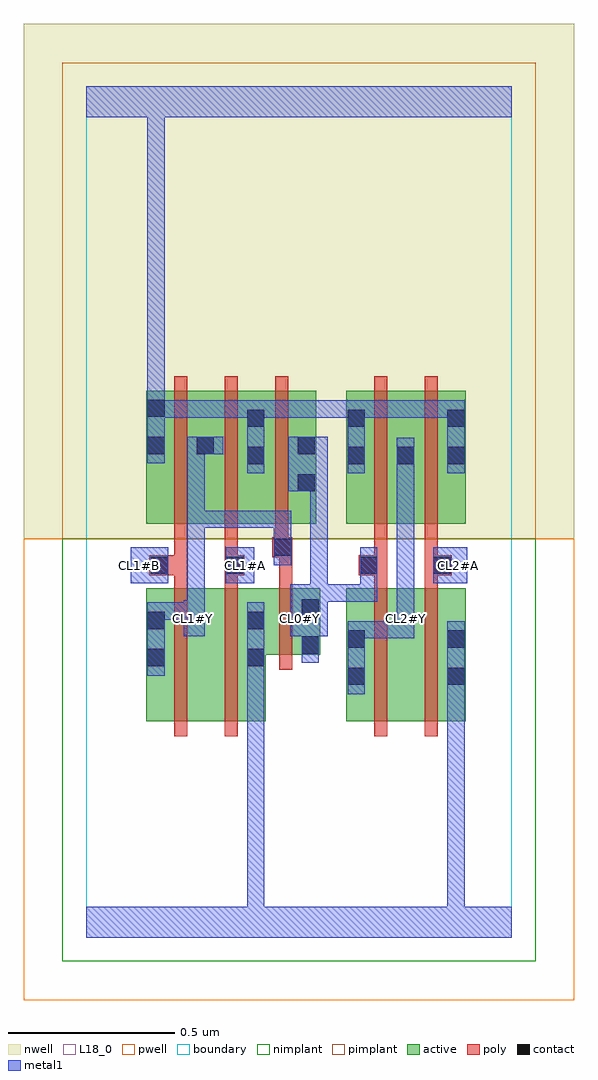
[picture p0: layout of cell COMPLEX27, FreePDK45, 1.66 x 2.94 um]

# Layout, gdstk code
import gdstk
lib = gdstk.Library(unit=1e-6, precision=1e-09)
def R(c, l, rs):  # rectangles x0, y0, x1, y1
    for r in rs: c.add(gdstk.rectangle(r[:2], r[2:], *l))
def A(c, l, x, y, w, h, nx, ny, dx, dy):  # array of equal rectangles
    R(c, l, [(x+i*dx, y+j*dy, x+i*dx+w, y+j*dy+h) for i in range(nx) for j in range(ny)])
active = (1, 0)
pwell = (2, 0)
nwell = (3, 0)
nimplant = (4, 0)
pimplant = (5, 0)
poly = (9, 0)
contact = (10, 0)
metal1 = (11, 0)
L18_0 = (18, 0)
boundary = (235, 0)

complex27 = lib.new_cell('COMPLEX27')
R(complex27, active, [(0.18,0.65,0.36,1.05), (0.36,0.65,0.54,1.05), (0.48,0.65,0.54,1.05), (0.782,0.65,0.842,1.05), (0.782,0.65,0.962,1.05), (0.962,0.65,1.142,1.05), (1.082,0.65,1.142,1.05), (0.18,0.756,0.24,1.05), (0.48,0.85,0.704,1.05), (0.644,0.85,0.704,1.05), (0.18,1.244,0.24,1.644), (0.18,1.244,0.388,1.644), (0.328,1.244,0.54,1.644), (0.48,1.244,0.692,1.644), (0.632,1.244,0.692,1.644), (0.782,1.244,0.842,1.644), (0.782,1.244,0.99,1.644), (0.93,1.244,0.99,1.644), (0.93,1.244,1.142,1.644), (1.082,1.244,1.142,1.644), (0.48,1.42,0.54,1.644), (0.328,1.45,0.388,1.644)])
R(complex27, pwell, [(-0.188,-0.188,1.468,1.2)])
R(complex27, nwell, [(-0.188,1.2,1.468,2.748)])
R(complex27, nimplant, [(-0.072,-0.072,1.352,1.2)])
R(complex27, pimplant, [(-0.072,1.2,1.352,2.632)])
A(complex27, poly, 0.264, 1.2, 0.04, 0.488, 3, 1, 0.152, 0)
R(complex27, poly, [(0.264,0.606,0.304,1.094), (0.416,0.606,0.456,1.094), (0.866,0.606,0.906,1.094), (1.018,0.606,1.058,1.094), (0.58,0.806,0.62,1.094), (0.264,1.054,0.304,1.13), (0.416,1.054,0.456,1.13), (0.58,1.054,0.62,1.184), (0.866,1.054,0.906,1.13), (1.018,1.054,1.058,1.13), (0.19,1.09,0.304,1.15), (0.264,1.09,0.304,1.13), (0.264,1.09,0.304,1.13), (0.416,1.09,0.476,1.15), (0.82,1.09,0.906,1.15), (1.018,1.09,1.1,1.15), (0.264,1.11,0.304,1.24), (0.416,1.11,0.456,1.24), (0.416,1.11,0.456,1.15), (0.416,1.11,0.456,1.15), (0.866,1.11,0.906,1.24), (0.866,1.11,0.906,1.15), (0.866,1.11,0.906,1.15), (1.018,1.11,1.058,1.24), (1.018,1.11,1.058,1.15), (1.018,1.11,1.058,1.15), (0.56,1.144,0.62,1.204), (0.58,1.144,0.62,1.184), (0.58,1.144,0.62,1.184), (0.568,1.164,0.608,1.24), (0.866,1.2,0.906,1.688), (1.018,1.2,1.058,1.688)])
R(complex27, contact, [(0.786,0.76,0.838,0.812), (1.086,0.76,1.138,0.812), (0.184,0.816,0.236,0.868), (0.484,0.816,0.536,0.868), (0.648,0.854,0.7,0.906), (0.786,0.872,0.838,0.924), (1.086,0.872,1.138,0.924), (0.184,0.928,0.236,0.98), (0.484,0.928,0.536,0.98), (0.648,0.966,0.7,1.018), (0.194,1.094,0.246,1.146), (0.42,1.094,0.472,1.146), (0.824,1.094,0.876,1.146), (1.044,1.094,1.096,1.146), (0.564,1.148,0.616,1.2), (0.636,1.342,0.688,1.394), (0.484,1.424,0.536,1.476), (0.786,1.424,0.838,1.476), (0.934,1.424,0.986,1.476), (1.086,1.424,1.138,1.476), (0.184,1.454,0.236,1.506), (0.332,1.454,0.384,1.506), (0.636,1.454,0.688,1.506), (0.484,1.536,0.536,1.588), (0.786,1.536,0.838,1.588), (1.086,1.536,1.138,1.588), (0.184,1.566,0.236,1.618)])
R(complex27, metal1, [(0,0,1.28,0.092), (0.484,0.04,0.536,0.092), (0.484,0.04,0.536,0.092), (0.484,0.04,0.536,0.092), (0.484,0.04,0.536,0.092), (0.484,0.04,0.536,0.092), (0.484,0.04,0.536,0.092), (0.484,0.04,0.536,0.092), (0.484,0.04,0.536,0.092), (0.484,0.04,0.536,0.092), (0.484,0.04,0.536,0.092), (0.484,0.04,0.536,0.092), (0.484,0.04,0.536,0.092), (0.484,0.04,0.536,0.84), (1.086,0.04,1.138,0.092), (1.086,0.04,1.138,0.092), (1.086,0.04,1.138,0.092), (1.086,0.04,1.138,0.092), (1.086,0.04,1.138,0.092), (1.086,0.04,1.138,0.092), (1.086,0.04,1.138,0.092), (1.086,0.04,1.138,0.092), (1.086,0.04,1.138,0.092), (1.086,0.04,1.138,0.092), (1.086,0.04,1.138,0.092), (1.086,0.04,1.138,0.092), (1.086,0.04,1.138,0.784), (0.786,0.732,0.838,0.952), (1.086,0.732,1.138,0.952), (0.184,0.788,0.236,1.008), (0.484,0.788,0.536,1.008), (0.648,0.826,0.7,1.046), (0.786,0.9,0.986,0.952), (0.934,0.9,0.986,0.952), (0.934,0.9,0.986,0.952), (0.934,0.9,0.986,0.952), (0.934,0.9,0.986,0.958), (0.294,0.906,0.356,1.014), (0.614,0.906,0.726,1.062), (0.648,0.906,0.7,0.958), (0.934,0.906,0.986,1.014), (0.184,0.956,0.236,1.008), (0.184,0.956,0.236,1.008), (0.184,0.956,0.236,1.008), (0.184,0.956,0.236,1.008), (0.184,0.956,0.346,1.008), (0.304,0.962,0.356,1.284), (0.934,0.962,0.986,1.014), (0.934,0.962,0.986,1.014), (0.934,0.962,0.986,1.448), (0.674,1.01,0.726,1.062), (0.674,1.01,0.726,1.062), (0.674,1.01,0.876,1.062), (0.674,1.01,0.726,1.394), (0.824,1.01,0.876,1.118), (0.134,1.066,0.246,1.174), (0.42,1.066,0.506,1.174), (0.824,1.066,0.876,1.118), (0.824,1.066,0.876,1.174), (1.044,1.066,1.146,1.174), (0.564,1.12,0.616,1.284), (0.304,1.232,0.356,1.284), (0.304,1.232,0.356,1.284), (0.304,1.232,0.356,1.284), (0.304,1.232,0.536,1.284), (0.304,1.232,0.356,1.506), (0.484,1.232,0.536,1.284), (0.484,1.232,0.616,1.284), (0.608,1.342,0.726,1.506), (0.484,1.396,0.536,1.616), (0.786,1.396,0.838,1.616), (0.934,1.396,0.986,1.504), (1.086,1.396,1.138,1.616), (0.184,1.426,0.236,1.646), (0.304,1.454,0.412,1.506), (0.184,1.564,0.236,1.616), (0.184,1.564,0.236,1.616), (0.184,1.564,0.356,1.616), (0.304,1.564,0.356,1.616), (0.304,1.564,0.356,1.616), (0.304,1.564,0.356,1.616), (0.304,1.564,0.536,1.616), (0.484,1.564,0.646,1.616), (0.594,1.564,0.646,1.616), (0.594,1.564,0.646,1.616), (0.594,1.564,0.646,1.616), (0.594,1.564,0.838,1.616), (0.786,1.564,0.838,1.616), (0.786,1.564,0.838,1.616), (0.786,1.564,1.028,1.616), (0.976,1.564,1.028,1.616), (0.976,1.564,1.138,1.616), (1.086,1.564,1.138,1.616), (1.086,1.564,1.138,1.616), (0.184,1.594,0.236,1.646), (0.184,1.594,0.236,1.646), (0.184,1.594,0.236,1.646), (0.184,1.594,0.236,1.646), (0.184,1.594,0.236,1.646), (0.184,1.594,0.236,1.646), (0.184,1.594,0.236,1.646), (0.184,1.594,0.236,1.646), (0.184,1.594,0.236,1.646), (0.184,1.594,0.236,1.646), (0.184,1.594,0.236,1.646), (0.184,1.594,0.236,1.646), (0.184,1.594,0.236,1.646), (0.184,1.594,0.236,1.646), (0.184,1.594,0.236,1.646), (0.184,1.594,0.236,1.646), (0.184,1.594,0.236,2.52), (0,2.468,1.28,2.56)])
A(complex27, L18_0, 0.294, 0.934, 0.052, 0.052, 3, 1, 0.32, 0)
R(complex27, L18_0, [(0,0,1.28,0.092), (0.484,0.04,0.536,0.092), (0.484,0.04,0.536,0.092), (0.484,0.04,0.536,0.092), (0.484,0.04,0.536,0.092), (0.484,0.04,0.536,0.092), (0.484,0.04,0.536,0.092), (0.484,0.04,0.536,0.092), (0.484,0.04,0.536,0.092), (0.484,0.04,0.536,0.092), (0.484,0.04,0.536,0.092), (0.484,0.04,0.536,0.092), (0.484,0.04,0.536,0.092), (0.484,0.04,0.536,0.84), (1.086,0.04,1.138,0.092), (1.086,0.04,1.138,0.092), (1.086,0.04,1.138,0.092), (1.086,0.04,1.138,0.092), (1.086,0.04,1.138,0.092), (1.086,0.04,1.138,0.092), (1.086,0.04,1.138,0.092), (1.086,0.04,1.138,0.092), (1.086,0.04,1.138,0.092), (1.086,0.04,1.138,0.092), (1.086,0.04,1.138,0.092), (1.086,0.04,1.138,0.092), (1.086,0.04,1.138,0.784), (0.786,0.732,0.838,0.952), (1.086,0.732,1.138,0.952), (0.184,0.788,0.236,1.008), (0.484,0.788,0.536,1.008), (0.648,0.826,0.7,1.046), (0.786,0.9,0.986,0.952), (0.934,0.9,0.986,0.952), (0.934,0.9,0.986,0.952), (0.934,0.9,0.986,0.952), (0.934,0.9,0.986,0.958), (0.294,0.906,0.356,1.014), (0.614,0.906,0.726,1.062), (0.648,0.906,0.7,0.958), (0.934,0.906,0.986,1.014), (0.184,0.956,0.236,1.008), (0.184,0.956,0.236,1.008), (0.184,0.956,0.236,1.008), (0.184,0.956,0.236,1.008), (0.184,0.956,0.346,1.008), (0.304,0.962,0.356,1.284), (0.934,0.962,0.986,1.014), (0.934,0.962,0.986,1.014), (0.934,0.962,0.986,1.448), (0.674,1.01,0.726,1.062), (0.674,1.01,0.726,1.062), (0.674,1.01,0.726,1.394), (0.674,1.01,0.876,1.062), (0.824,1.01,0.876,1.118), (0.134,1.066,0.246,1.174), (0.42,1.066,0.506,1.174), (0.824,1.066,0.876,1.118), (0.824,1.066,0.876,1.174), (1.044,1.066,1.146,1.174), (0.134,1.094,0.186,1.146), (0.454,1.094,0.506,1.146), (1.094,1.094,1.146,1.146), (0.564,1.12,0.616,1.284), (0.304,1.232,0.356,1.284), (0.304,1.232,0.356,1.284), (0.304,1.232,0.356,1.284), (0.304,1.232,0.356,1.506), (0.304,1.232,0.536,1.284), (0.484,1.232,0.536,1.284), (0.484,1.232,0.616,1.284), (0.608,1.342,0.726,1.506), (0.484,1.396,0.536,1.616), (0.786,1.396,0.838,1.616), (0.934,1.396,0.986,1.504), (1.086,1.396,1.138,1.616), (0.184,1.426,0.236,1.646), (0.304,1.454,0.412,1.506), (0.184,1.564,0.236,1.616), (0.184,1.564,0.236,1.616), (0.184,1.564,0.356,1.616), (0.304,1.564,0.356,1.616), (0.304,1.564,0.356,1.616), (0.304,1.564,0.356,1.616), (0.304,1.564,0.536,1.616), (0.484,1.564,0.646,1.616), (0.594,1.564,0.646,1.616), (0.594,1.564,0.646,1.616), (0.594,1.564,0.646,1.616), (0.594,1.564,0.838,1.616), (0.786,1.564,0.838,1.616), (0.786,1.564,0.838,1.616), (0.786,1.564,1.028,1.616), (0.976,1.564,1.028,1.616), (0.976,1.564,1.138,1.616), (1.086,1.564,1.138,1.616), (1.086,1.564,1.138,1.616), (0.184,1.594,0.236,1.646), (0.184,1.594,0.236,1.646), (0.184,1.594,0.236,1.646), (0.184,1.594,0.236,1.646), (0.184,1.594,0.236,1.646), (0.184,1.594,0.236,1.646), (0.184,1.594,0.236,1.646), (0.184,1.594,0.236,1.646), (0.184,1.594,0.236,1.646), (0.184,1.594,0.236,1.646), (0.184,1.594,0.236,1.646), (0.184,1.594,0.236,1.646), (0.184,1.594,0.236,1.646), (0.184,1.594,0.236,1.646), (0.184,1.594,0.236,1.646), (0.184,1.594,0.236,1.646), (0.184,1.594,0.236,2.52), (0,2.468,1.28,2.56)])
R(complex27, boundary, [(0,0,1.28,2.56)])
complex27.add(gdstk.Label('CL0#Y', (0.64,0.96), layer=11, texttype=0))
complex27.add(gdstk.Label('CL1#A', (0.48,1.12), layer=11, texttype=0))
complex27.add(gdstk.Label('CL1#B', (0.16,1.12), layer=11, texttype=0))
complex27.add(gdstk.Label('CL1#Y', (0.32,0.96), layer=11, texttype=0))
complex27.add(gdstk.Label('CL2#A', (1.12,1.12), layer=11, texttype=0))
complex27.add(gdstk.Label('CL2#Y', (0.96,0.96), layer=11, texttype=0))

lib.write_gds('COMPLEX27.gds')
